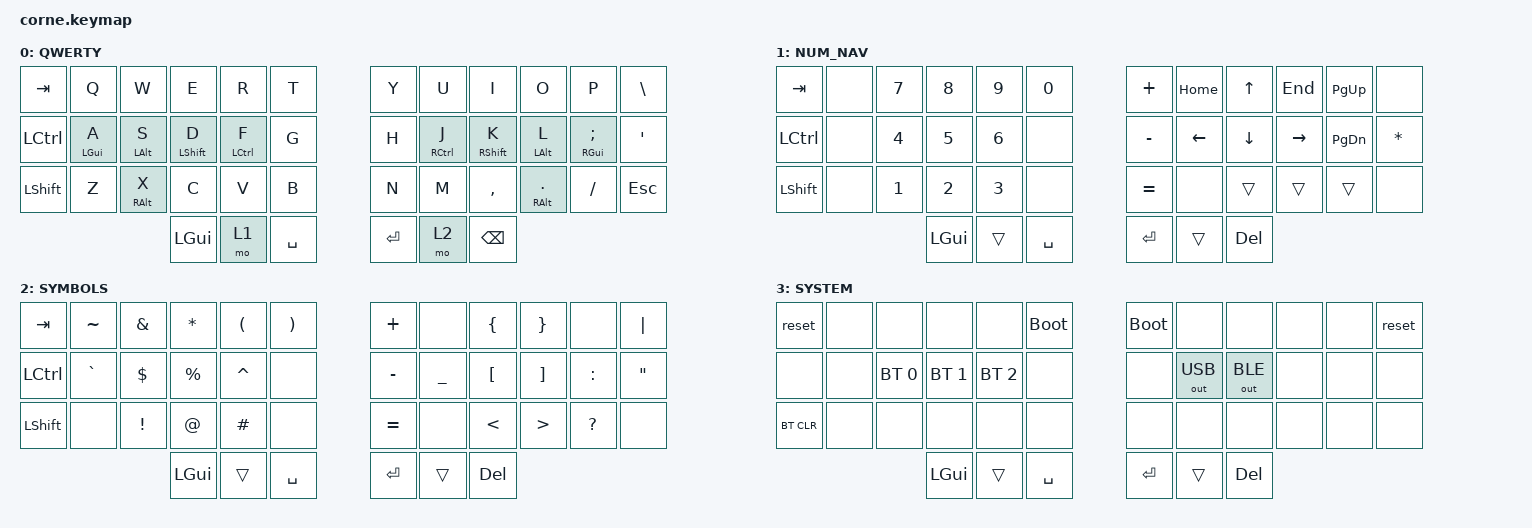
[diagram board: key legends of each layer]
/*
* Copyright (c) 2020 The ZMK Contributors
*
* SPDX-License-Identifier: MIT
*/

#include <behaviors.dtsi>
#include <dt-bindings/zmk/keys.h>
#include <dt-bindings/zmk/bt.h>
#include <dt-bindings/zmk/outputs.h>

/ {
    behaviors {
        hm: homerow_mods {
            compatible = "zmk,behavior-hold-tap";
            label = "HOMEROW_MODS";
            #binding-cells = <2>;
            tapping-term-ms = <200>;
            quick-tap-ms = <0>;
            flavor = "tap-preferred";
            bindings = <&kp>, <&kp>;
        };
        // G A S C      C S A G
        //   A              A
    };
    contitional_layers {
        compatible = "zmk,conditional-layers";
        tri_layer {
            if-layers = <1 2>;
            then-layer = <3>;
        };
    };
    keymap {
        compatible = "zmk,keymap";
        default_layer {
            label = "QWERTY";
            // -----------------------------------------------------------------------------------------
            // | TAB |  Q  |  W  |  E  |  R  |  T  |               |  Y  |  U  |  I  |  O  |  P  |  \  |
            // |CTRL |  A  |  S  |  D  |  F  |  G  |               |  H  |  J  |  K  |  L  |  ;  |  '  |
            // |SHFT |  Z  |  X  |  C  |  V  |  B  |               |  N  |  M  |  ,  |  .  |  /  | ESC |
            //                   | GUI | LWR | SPC |               | ENT | RSE | BKSP|
            bindings = <
                &kp TAB   &kp Q      &kp W      &kp E       &kp R       &kp T                   &kp Y   &kp U       &kp I       &kp O        &kp P         &kp BSLH
                &kp LCTRL &hm LGUI A &hm LALT S &hm LSHFT D &hm LCTRL F &kp G                   &kp H   &hm RCTRL J &hm RSHFT K &hm LALT L   &hm RGUI SEMI &kp SQT
                &kp LSHFT &kp Z      &hm RALT X &kp C       &kp V       &kp B                   &kp N   &kp M       &kp COMMA   &hm RALT DOT &kp FSLH      &kp ESC
                                                &kp LGUI    &mo 1       &kp SPACE               &kp RET &mo 2       &kp BSPC
            >;
        };
        lower_layer {
            label = "NUM_NAV";
            // -----------------------------------------------------------------------------------------
            // | TAB |     |  7  |  8  |  9  |  0  |               |  +  | HME |  UP | END | PGU |     |
            // |CTRL |     |  4  |  5  |  6  |     |               |  -  | LFT | DWN | RGT | PGD |  *  |
            // |SHFT |     |  1  |  2  |  3  |     |               |  =  |     |  ,  |  .  |  /  |     |
            //                   | GUI |     | SPC |               | ENT |     | DEL |
            bindings = <
                &kp TAB    &none &kp N7 &kp N8   &kp N9 &kp N0                   &kp PLUS  &kp HOME &kp UP   &kp END   &kp PG_UP &none 
                &kp LCTRL  &none &kp N4 &kp N5   &kp N6 &none                    &kp MINUS &kp LEFT &kp DOWN &kp RIGHT &kp PG_DN &kp STAR 
                &kp LSHFT  &none &kp N1 &kp N2   &kp N3 &none                    &kp EQUAL &none    &trans   &trans    &trans    &none 
                                        &kp LGUI &trans &kp SPACE                &kp RET   &trans   &kp DEL
            >;
        };
        raise_layer {
            label = "SYMBOLS";
            // -----------------------------------------------------------------------------------------
            // | TAB |  ~  |  &  |  *  |  (  |  )  |               |  +  |     |  {  |  }  |     |  |  |
            // |CTRL |  `  |  $  |  %  |  ^  |     |               |  -  |  _  |  [  |  ]  |  :  |  "  |
            // |SHFT |     |  !  |  @  |  #  |     |               |  =  |     |  <  |  >  |  ?  |     |
            //                   | GUI |     | SPC |               | ENT |     | DEL |
            bindings = <
                &kp  TAB  &kp TILDE &kp AMPS   &kp STAR    &kp LPAR  &kp RPAR               &kp PLUS  &none     &kp LBRC &kp RBRC &none        &kp PIPE
                &kp LCTRL &kp GRAVE &kp DOLLAR &kp PERCENT &kp CARET &none                  &kp MINUS &kp UNDER &kp LBKT &kp RBKT &kp COLON    &kp DQT
                &kp LSHFT &none     &kp EXCL   &kp AT      &kp HASH  &none                  &kp EQUAL &none     &kp LT   &kp GT   &kp QUESTION &none 
                                               &kp LGUI    &trans    &kp SPACE              &kp RET   &trans    &kp DEL
            >;
        };
        system_layer {
            label = "SYSTEM";
            // ------------------------------------------------------------------------------------------
            // | RST |     |     |     |     |BOOTL|               |BOOTL|     |     |     |     | RST |
            // |     |     | BT0 | BT1 | BT2 |     |               |     | USB | BLE |     |     |     |
            // |BTCLR|     |     |     |     |     |               |     |     |     |     |     |     |
            //                   | GUI |     | SPC |               | ENT |     | DEL |
            bindings = <
                &reset     &none &none        &none        &none        &bootloader             &bootloader &none        &none        &none &none &reset
                &none      &none &bt BT_SEL 0 &bt BT_SEL 1 &bt BT_SEL 2 &none                   &none       &out OUT_USB &out OUT_BLE &none &none &none
                &bt BT_CLR &none &none        &none        &none        &none                   &none       &none        &none        &none &none &none
                                              &kp LGUI     &trans       &kp SPACE               &kp ENTER   &trans       &kp DEL
            >;
        };
    };
};
